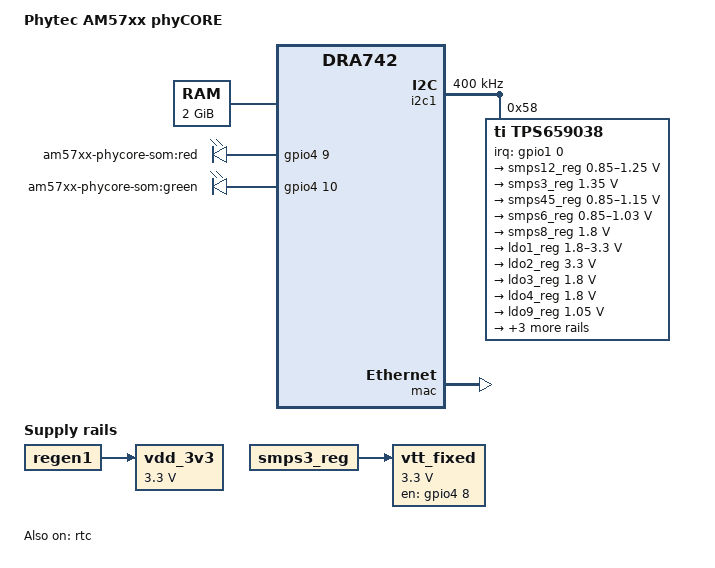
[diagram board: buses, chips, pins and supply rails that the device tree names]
/*
 * Copyright (C) 2014 Texas Instruments Incorporated - http://www.ti.com/
 *
 * This program is free software; you can redistribute it and/or modify
 * it under the terms of the GNU General Public License version 2 as
 * published by the Free Software Foundation.
 */
#include "dra74x.dtsi"
#include <dt-bindings/gpio/gpio.h>
#include <dt-bindings/interrupt-controller/irq.h>

/ {
	model = "Phytec AM57xx phyCORE";
	compatible = "phytec,am57xx-phycore-som", "ti,am5728", "ti,dra742", "ti,dra74", "ti,dra7";

	aliases {
		rtc2 = &rtc;
		rtc1 = &tps659038_rtc;
		rtc0 = &i2c_rtc;
	};

	memory {
		device_type = "memory";
		reg = <0x80000000 0x80000000>; /* 2GiB */
	};

	vdd_3v3: fixedregulator-vdd_3v3 {
		compatible = "regulator-fixed";
		regulator-name = "vdd_3v3";
		vin-supply = <&regen1>;
		regulator-min-microvolt = <3300000>;
		regulator-max-microvolt = <3300000>;
	};

	vtt_fixed: fixedregulator-vtt {
		/* TPS51200 */
		compatible = "regulator-fixed";
		regulator-name = "vtt_fixed";
		vin-supply = <&smps3_reg>;
		regulator-min-microvolt = <3300000>;
		regulator-max-microvolt = <3300000>;
		regulator-always-on;
		regulator-boot-on;
		enable-active-high;
		gpio = <&gpio4 8 GPIO_ACTIVE_HIGH>;
	};

	phytec_leds: leds {
		compatible = "gpio-leds";
		pinctrl-names = "default", "sleep";
		pinctrl-0 = <&leds_som_pins_default>;
		pinctrl-1 = <&leds_som_pins_sleep>;

		led@0 {
			label = "am57xx-phycore-som:red";
			gpios = <&gpio4 9 GPIO_ACTIVE_HIGH>;
			linux,default-trigger = "heartbeat";
			default-state = "off";
		};

		led@1 {
			label = "am57xx-phycore-som:green";
			gpios = <&gpio4 10 GPIO_ACTIVE_HIGH>;
			linux,default-trigger = "cpu0";
			default-state = "off";
		};
	};
};

&dra7_pmx_core {
	leds_som_pins_default: leds_som_pins_default {
		pinctrl-single,pins = <
			0x188 (PIN_OUTPUT | MUX_MODE14)	/* vin2a_d8.gpio4_9 */
			0x18c (PIN_OUTPUT | MUX_MODE14)	/* vin2a_d9.gpio4_10 */
		>;
	};

	leds_som_pins_sleep: leds_som_pins_sleep {
		pinctrl-single,pins = <
			0x188 (PIN_INPUT_PULLDOWN | MUX_MODE15)
			0x18c (PIN_INPUT_PULLDOWN | MUX_MODE15)
		>;
	};

	i2c1_pins_default: i2c1_pins_default {
		pinctrl-single,pins = <
			0x400 (PIN_INPUT_PULLUP | MUX_MODE0)	/* i2c1_sda.sda */
			0x404 (PIN_INPUT_PULLUP | MUX_MODE0)	/* i2c1_scl.scl */
		>;
	};

	mmc2_pins_default: mmc2_pins_default {
		pinctrl-single,pins = <
			0x9c (PIN_INPUT_PULLUP | MUX_MODE1) /* gpmc_a23.mmc2_clk */
			0xb0 (PIN_INPUT_PULLUP | MUX_MODE1) /* gpmc_cs1.mmc2_cmd */
			0xa0 (PIN_INPUT_PULLUP | MUX_MODE1) /* gpmc_a24.mmc2_dat0 */
			0xa4 (PIN_INPUT_PULLUP | MUX_MODE1) /* gpmc_a25.mmc2_dat1 */
			0xa8 (PIN_INPUT_PULLUP | MUX_MODE1) /* gpmc_a26.mmc2_dat2 */
			0xac (PIN_INPUT_PULLUP | MUX_MODE1) /* gpmc_a27.mmc2_dat3 */
			0x8c (PIN_INPUT_PULLUP | MUX_MODE1) /* gpmc_a19.mmc2_dat4 */
			0x90 (PIN_INPUT_PULLUP | MUX_MODE1) /* gpmc_a20.mmc2_dat5 */
			0x94 (PIN_INPUT_PULLUP | MUX_MODE1) /* gpmc_a21.mmc2_dat6 */
			0x98 (PIN_INPUT_PULLUP | MUX_MODE1) /* gpmc_a22.mmc2_dat7 */
		>;
	};

	mmc2_pins_hs: mmc2_pins_hs {
		pinctrl-single,pins = <
			0x9c (PIN_INPUT_PULLUP | MUX_MODE1) /* gpmc_a23.mmc2_clk */
			0xb0 (PIN_INPUT_PULLUP | MUX_MODE1) /* gpmc_cs1.mmc2_cmd */
			0xa0 (PIN_INPUT_PULLUP | MUX_MODE1) /* gpmc_a24.mmc2_dat0 */
			0xa4 (PIN_INPUT_PULLUP | MUX_MODE1) /* gpmc_a25.mmc2_dat1 */
			0xa8 (PIN_INPUT_PULLUP | MUX_MODE1) /* gpmc_a26.mmc2_dat2 */
			0xac (PIN_INPUT_PULLUP | MUX_MODE1) /* gpmc_a27.mmc2_dat3 */
			0x8c (PIN_INPUT_PULLUP | MUX_MODE1) /* gpmc_a19.mmc2_dat4 */
			0x90 (PIN_INPUT_PULLUP | MUX_MODE1) /* gpmc_a20.mmc2_dat5 */
			0x94 (PIN_INPUT_PULLUP | MUX_MODE1) /* gpmc_a21.mmc2_dat6 */
			0x98 (PIN_INPUT_PULLUP | MUX_MODE1) /* gpmc_a22.mmc2_dat7 */
		>;
	};

	mmc2_pins_ddr_3_3v: mmc2_pins_ddr_3_3v {
		pinctrl-single,pins = <
			0x9c (PIN_INPUT_PULLUP | MANUAL_MODE | MUX_MODE1) /* gpmc_a23.mmc2_clk */
			0xb0 (PIN_INPUT_PULLUP | MANUAL_MODE | MUX_MODE1) /* gpmc_cs1.mmc2_cmd */
			0xa0 (PIN_INPUT_PULLUP | MANUAL_MODE | MUX_MODE1) /* gpmc_a24.mmc2_dat0 */
			0xa4 (PIN_INPUT_PULLUP | MANUAL_MODE | MUX_MODE1) /* gpmc_a25.mmc2_dat1 */
			0xa8 (PIN_INPUT_PULLUP | MANUAL_MODE | MUX_MODE1) /* gpmc_a26.mmc2_dat2 */
			0xac (PIN_INPUT_PULLUP | MANUAL_MODE | MUX_MODE1) /* gpmc_a27.mmc2_dat3 */
			0x8c (PIN_INPUT_PULLUP | MANUAL_MODE | MUX_MODE1) /* gpmc_a19.mmc2_dat4 */
			0x90 (PIN_INPUT_PULLUP | MANUAL_MODE | MUX_MODE1) /* gpmc_a20.mmc2_dat5 */
			0x94 (PIN_INPUT_PULLUP | MANUAL_MODE | MUX_MODE1) /* gpmc_a21.mmc2_dat6 */
			0x98 (PIN_INPUT_PULLUP | MANUAL_MODE | MUX_MODE1) /* gpmc_a22.mmc2_dat7 */
		>;
	};

	emac0_pins_default: emac0_pins_default {
		pinctrl-single,pins = <
			/* Slave 1 */
			0x250 (PIN_OUTPUT | MUX_MODE0)	/* rgmii1_tclk */
			0x254 (PIN_OUTPUT | MUX_MODE0)	/* rgmii1_tctl */
			0x258 (PIN_OUTPUT | MUX_MODE0)	/* rgmii1_td3 */
			0x25c (PIN_OUTPUT | MUX_MODE0)	/* rgmii1_td2 */
			0x260 (PIN_OUTPUT | MUX_MODE0)	/* rgmii1_td1 */
			0x264 (PIN_OUTPUT | MUX_MODE0)	/* rgmii1_td0 */
			0x268 (PIN_INPUT | MUX_MODE0)	/* rgmii1_rclk */
			0x26c (PIN_INPUT | MUX_MODE0)	/* rgmii1_rctl */
			0x270 (PIN_INPUT | MUX_MODE0)	/* rgmii1_rd3 */
			0x274 (PIN_INPUT | MUX_MODE0)	/* rgmii1_rd2 */
			0x278 (PIN_INPUT | MUX_MODE0)	/* rgmii1_rd1 */
			0x27c (PIN_INPUT | MUX_MODE0)	/* rgmii1_rd0 */
		>;

	};

	emac0_pins_sleep: emac0_pins_sleep {
		pinctrl-single,pins = <
			/* Slave 1 */
			0x250 (PIN_INPUT | MUX_MODE15)
			0x254 (PIN_INPUT | MUX_MODE15)
			0x258 (PIN_INPUT | MUX_MODE15)
			0x25c (PIN_INPUT | MUX_MODE15)
			0x260 (PIN_INPUT | MUX_MODE15)
			0x264 (PIN_INPUT | MUX_MODE15)
			0x268 (PIN_INPUT | MUX_MODE15)
			0x26c (PIN_INPUT | MUX_MODE15)
			0x270 (PIN_INPUT | MUX_MODE15)
			0x274 (PIN_INPUT | MUX_MODE15)
			0x278 (PIN_INPUT | MUX_MODE15)
			0x27c (PIN_INPUT | MUX_MODE15)
		>;
	};

	davinci_mdio_pins_default: davinci_mdio_pins_default {
		pinctrl-single,pins = <
			/* MDIO */
			0x23c (PIN_OUTPUT_PULLUP | MUX_MODE0)	/* mdio_mclk */
			0x240 (PIN_INPUT_PULLUP | MUX_MODE0)	/* mdio_d */
		>;
	};

	davinci_mdio_pins_sleep: davinci_mdio_pins_sleep {
		pinctrl-single,pins = <
			0x23c (PIN_INPUT | MUX_MODE15)
			0x240 (PIN_INPUT | MUX_MODE15)
		>;
	};

	tps659038_pins_default: tps659038_pins_default {
		pinctrl-single,pins = <
			0x418 (PIN_INPUT_PULLUP | MUX_MODE14)	/* wakeup0.gpio1_0 */
		>;
	};
};

&dra7_iodelay_core {
	mmc2_iodelay_ddr_3_3v_conf: mmc2_iodelay_ddr_3_3v_conf {
		pinctrl-single,pins = <
			0x18c (A_DELAY(0) | G_DELAY(120))	/* CFG_GPMC_A19_IN */
			0x190 (A_DELAY(0) | G_DELAY(0))		/* CFG_GPMC_A19_OEN */
			0x194 (A_DELAY(174) | G_DELAY(0))	/* CFG_GPMC_A19_OUT */
			0x1a4 (A_DELAY(265) | G_DELAY(360))	/* CFG_GPMC_A20_IN */
			0x1a8 (A_DELAY(0) | G_DELAY(0))		/* CFG_GPMC_A20_OEN */
			0x1ac (A_DELAY(168) | G_DELAY(0))	/* CFG_GPMC_A20_OUT */
			0x1b0 (A_DELAY(0) | G_DELAY(120))	/* CFG_GPMC_A21_IN */
			0x1b4 (A_DELAY(0) | G_DELAY(0))		/* CFG_GPMC_A21_OEN */
			0x1b8 (A_DELAY(136) | G_DELAY(0))	/* CFG_GPMC_A21_OUT */
			0x1bc (A_DELAY(0) | G_DELAY(120))	/* CFG_GPMC_A22_IN */
			0x1c0 (A_DELAY(0) | G_DELAY(0))		/* CFG_GPMC_A22_OEN */
			0x1c4 (A_DELAY(0) | G_DELAY(0))		/* CFG_GPMC_A22_OUT */
			0x1c8 (A_DELAY(287) | G_DELAY(420))	/* CFG_GPMC_A23_IN */
			0x1d0 (A_DELAY(879) | G_DELAY(0))	/* CFG_GPMC_A23_OUT */
			0x1d4 (A_DELAY(144) | G_DELAY(240))	/* CFG_GPMC_A24_IN */
			0x1d8 (A_DELAY(0) | G_DELAY(0))		/* CFG_GPMC_A24_OEN */
			0x1dc (A_DELAY(0) | G_DELAY(0))		/* CFG_GPMC_A24_OUT */
			0x1e0 (A_DELAY(0) | G_DELAY(0))		/* CFG_GPMC_A25_IN */
			0x1e4 (A_DELAY(0) | G_DELAY(0))		/* CFG_GPMC_A25_OEN */
			0x1e8 (A_DELAY(34) | G_DELAY(0))	/* CFG_GPMC_A25_OUT */
			0x1ec (A_DELAY(0) | G_DELAY(120))	/* CFG_GPMC_A26_IN */
			0x1f0 (A_DELAY(0) | G_DELAY(0))		/* CFG_GPMC_A26_OEN */
			0x1f4 (A_DELAY(120) | G_DELAY(0))	/* CFG_GPMC_A26_OUT */
			0x1f8 (A_DELAY(120) | G_DELAY(180))	/* CFG_GPMC_A27_IN */
			0x1fc (A_DELAY(0) | G_DELAY(0))		/* CFG_GPMC_A27_OEN */
			0x200 (A_DELAY(0) | G_DELAY(0))		/* CFG_GPMC_A27_OUT */
			0x360 (A_DELAY(0) | G_DELAY(0))		/* CFG_GPMC_CS1_IN */
			0x364 (A_DELAY(0) | G_DELAY(0))		/* CFG_GPMC_CS1_OEN */
			0x368 (A_DELAY(11) | G_DELAY(0))	/* CFG_GPMC_CS1_OUT */
		>;
	};
};

&i2c1 {
	status = "okay";
	pinctrl-names = "default";
	pinctrl-0 = <&i2c1_pins_default>;
	clock-frequency = <400000>;

	tps659038: tps659038@58 {
		compatible = "ti,tps659038";
		reg = <0x58>;

		pinctrl-names = "default";
		pinctrl-0 = <&tps659038_pins_default>;

		interrupt-parent = <&gpio1>;
		interrupts = <0 IRQ_TYPE_LEVEL_LOW>;

		#interrupt-cells = <2>;
		interrupt-controller;

		ti,system-power-controller;

		tps659038_pmic {
			compatible = "ti,tps659038-pmic";

			regulators {
				smps12_reg: smps12 {
					/* VDD_MPU */
					regulator-name = "smps12";
					regulator-min-microvolt = <850000>;
					regulator-max-microvolt = <1250000>;
					regulator-always-on;
					regulator-boot-on;
				};

				smps3_reg: smps3 {
					/* VDD_DDR */
					regulator-name = "smps3";
					regulator-min-microvolt = <1350000>;
					regulator-max-microvolt = <1350000>;
					regulator-always-on;
					regulator-boot-on;
				};

				smps45_reg: smps45 {
					/* VDD_DSPEVE, VDD_IVA, VDD_GPU */
					regulator-name = "smps45";
					regulator-min-microvolt = <850000>;
					regulator-max-microvolt = <1150000>;
					regulator-always-on;
					regulator-boot-on;
				};

				smps6_reg: smps6 {
					/* VDD_CORE */
					regulator-name = "smps6";
					regulator-min-microvolt = <850000>;
					regulator-max-microvolt = <1030000>;
					regulator-always-on;
					regulator-boot-on;
				};

				/* SMPS7 unused */

				smps8_reg: smps8 {
					/* VDD_1V8 */
					regulator-name = "smps8";
					regulator-min-microvolt = <1800000>;
					regulator-max-microvolt = <1800000>;
					regulator-always-on;
					regulator-boot-on;
				};

				/* SMPS9 unused */

				ldo1_reg: ldo1 {
					/* VDD_SD / VDDSHV8  */
					regulator-name = "ldo1";
					regulator-min-microvolt = <1800000>;
					regulator-max-microvolt = <3300000>;
					regulator-always-on;
					regulator-boot-on;
				};

				ldo2_reg: ldo2 {
					/* VDD_SHV5 */
					regulator-name = "ldo2";
					regulator-min-microvolt = <3300000>;
					regulator-max-microvolt = <3300000>;
					regulator-always-on;
					regulator-boot-on;
				};

				ldo3_reg: ldo3 {
					/* VDDA_1V8_PHYA */
					regulator-name = "ldo3";
					regulator-min-microvolt = <1800000>;
					regulator-max-microvolt = <1800000>;
					regulator-always-on;
					regulator-boot-on;
				};

				ldo4_reg: ldo4 {
					/* VDDA_1V8_PHYB */
					regulator-name = "ldo4";
					regulator-min-microvolt = <1800000>;
					regulator-max-microvolt = <1800000>;
					regulator-always-on;
					regulator-boot-on;
				};

				ldo9_reg: ldo9 {
					/* VDD_RTC */
					regulator-name = "ldo9";
					regulator-min-microvolt = <1050000>;
					regulator-max-microvolt = <1050000>;
					regulator-always-on;
					regulator-boot-on;
				};

				ldoln_reg: ldoln {
					/* VDDA_1V8_PLL */
					regulator-name = "ldoln";
					regulator-min-microvolt = <1800000>;
					regulator-max-microvolt = <1800000>;
					regulator-always-on;
					regulator-boot-on;
				};

				ldousb_reg: ldousb {
					/* VDDA_3V_USB: VDDA_USBHS33 */
					regulator-name = "ldousb";
					regulator-min-microvolt = <3300000>;
					regulator-max-microvolt = <3300000>;
					regulator-boot-on;
				};

				regen1: regen1 {
					/* VDD_3V3_ON */
					regulator-name = "regen1";
					regulator-boot-on;
					regulator-always-on;
				};
			};
		};

		tps659038_pwr_button: tps659038_pwr_button {
			compatible = "ti,palmas-pwrbutton";
			interrupt-parent = <&tps659038>;
			interrupts = <1 IRQ_TYPE_EDGE_FALLING>;
			wakeup-source;
			ti,palmas-long-press-seconds = <12>;
		};

		tps659038_rtc: tps659038_rtc {
			status = "disabled";
			compatible = "ti,palmas-rtc";
			interrupt-parent = <&tps659038>;
			interrupts = <8 IRQ_TYPE_EDGE_FALLING>;
			wakeup-source;
		};
	};

	i2c_eeprom: eeprom@50 {
		status = "disabled";
		compatible = "at,24c32";
		reg = <0x50>;
		pagesize = <32>;
	};

	i2c_rtc: rtc@68 {
		status = "disabled";
		compatible = "rv4162";
		reg = <0x68>;
	};
};

&gpio4 {
	ti,no-reset-on-init;
	ti,no-idle-on-init;
};

&cpu0 {
	cpu0-supply = <&smps12_reg>;
	voltage-tolerance = <1>;
};

&mac {
	status = "okay";
	slaves = <1>;
	pinctrl-names = "default", "sleep";
	pinctrl-0 = <&emac0_pins_default>;
	pinctrl-1 = <&emac0_pins_sleep>;
};

&cpsw_emac0 {
	phy_id = <&davinci_mdio>, <1>;
	phy-mode = "rgmii";
	dual_emac_res_vlan = <1>;
	status = "disabled";
};

&cpsw_emac1 {
	status = "disabled";
};

&davinci_mdio {
	pinctrl-names = "default", "sleep";
	pinctrl-0 = <&davinci_mdio_pins_default>;
	pinctrl-1 = <&davinci_mdio_pins_sleep>;
	status = "disabled";
};

&mmc2 {
	status = "disabled";

	pinctrl-names = "default", "hs", "ddr_1_8v";
	pinctrl-0 = <&mmc2_pins_default>;
	pinctrl-1 = <&mmc2_pins_hs>;
	pinctrl-2 = <&mmc2_pins_ddr_3_3v &mmc2_iodelay_ddr_3_3v_conf>;

	vmmc-supply = <&vdd_3v3>;
	bus-width = <8>;
	iov = <3300000>;
	ti,non-removable;
	cap-mmc-dual-data-rate;
	max-frequency = <96000000>;
	/delete-property/ mmc-hs200-1_8v;
};

&rtc {
	status = "okay";
};

&cpu_alert0 {
	temperature = <90000>;
};

&cpu_crit {
	temperature = <105000>;
};

&core_crit {
	temperature = <105000>;
};

&gpu_crit {
	temperature = <105000>;
};
